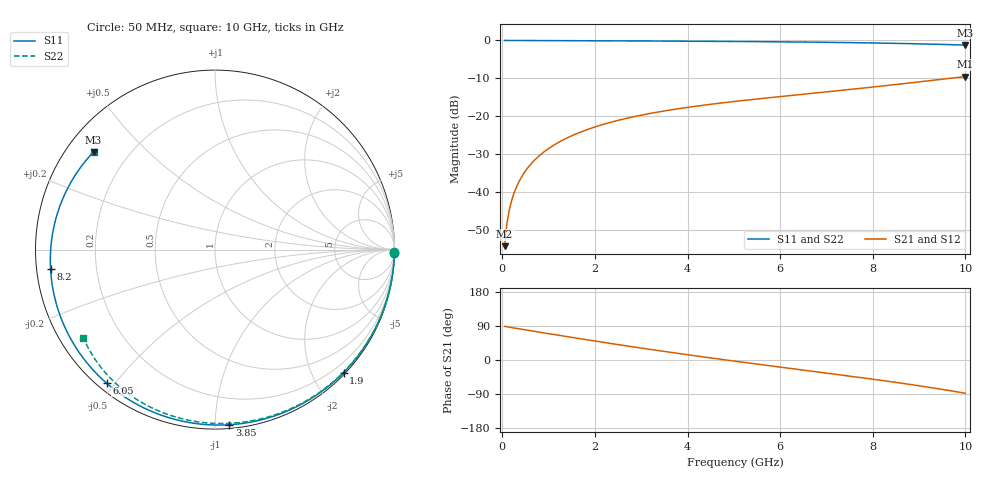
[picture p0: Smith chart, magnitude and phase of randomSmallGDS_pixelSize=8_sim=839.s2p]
! freq	dB(S11)	phase(S11)	dB(S12)	phase(S12)
!  dB(S21)	phase(S21)	dB(S22)	phase(S22)
!S-par simulation data
#  GHz  S  DB  R 50
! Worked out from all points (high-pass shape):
!   200 points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, 50 MHz to 10 GHz, reference 50 ohm
!   highest |S21| = -9.54 dB at 10 GHz (marker M1); lowest = -54.4 dB at 50 MHz (marker M2)
!   |S21| within 3 dB of the highest: 7.833 GHz to end of sweep
!   lowest |S11| = -1.2 dB at 10 GHz (marker M3), VSWR 14.20, Z = 3.95 + j17.5 ohm
!   |S11| at or under -10 dB: nowhere
!   |S22| runs from -1.1 to 0.0 dB; largest |S21 - S12| = 0
!   S11 on the Smith chart (normalised r, x): 50 MHz: 0, -97; 1.9 GHz: 0.03, -2.49; 3.85 GHz: 0.02, -1.08; 6.05 GHz: 0.03, -0.48; 8.2 GHz: 0.04, -0.06; 10 GHz: 0.08, +0.35
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0.05  -0.00 -1.2  -54.40 88.9  -54.40 88.9  -0.00 -0.9
0.1  -0.00 -2.4  -48.39 87.7  -48.39 87.7  -0.00 -1.7
0.15  -0.00 -3.5  -44.88 86.6  -44.88 86.6  -0.00 -2.6
0.2  -0.01 -4.7  -42.40 85.5  -42.40 85.5  -0.01 -3.4
0.35  -0.01 -8.2  -37.60 82.6  -37.60 82.6  -0.01 -6.0
0.5  -0.02 -11.7  -34.51 79.7  -34.51 79.7  -0.01 -8.6
0.7  -0.02 -16.3  -31.61 75.6  -31.61 75.6  -0.02 -12.0
1  -0.04 -23.3  -28.58 69.5  -28.58 69.5  -0.03 -17.0
1.75  -0.07 -40.3  -23.95 54.8  -23.95 54.8  -0.05 -29.6
1.9  -0.08 -43.7  -23.28 52.0  -23.28 52.0  -0.06 -32.0
2.65  -0.11 -60.2  -20.68 37.8  -20.68 37.8  -0.09 -44.2
3.4  -0.16 -76.1  -18.84 24.3  -18.84 24.3  -0.13 -56.0
3.85  -0.18 -85.4  -17.96 16.5  -17.96 16.5  -0.15 -62.9
4.45  -0.22 -97.5  -16.96 6.3  -16.96 6.3  -0.19 -71.9
5.05  -0.27 -109.4  -16.08 -3.5  -16.08 -3.5  -0.23 -80.6
6.05  -0.37 -129.0  -14.78 -19.5  -14.78 -19.5  -0.31 -94.6
6.7  -0.45 -141.9  -13.98 -29.7  -13.98 -29.7  -0.37 -103.5
7.5  -0.57 -158.2  -12.97 -42.4  -12.97 -42.4  -0.48 -114.1
8.2  -0.70 -173.3  -12.06 -54.0  -12.06 -54.0  -0.59 -123.2
8.35  -0.73 -176.6  -11.86 -56.5  -11.86 -56.5  -0.62 -125.1
9.2  -0.95 163.0  -10.68 -71.8  -10.68 -71.8  -0.83 -136.0
10  -1.22 141.2  -9.54 -87.7  -9.54 -87.7  -1.09 -146.2
